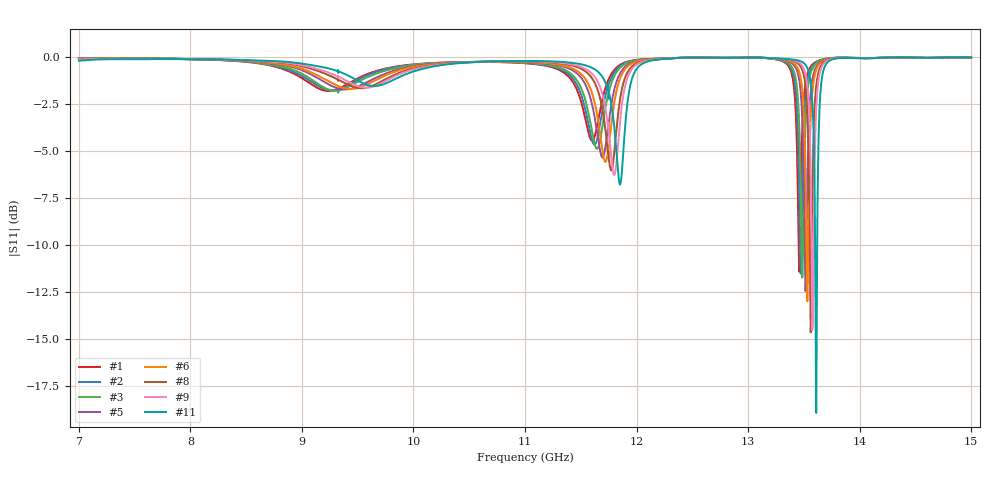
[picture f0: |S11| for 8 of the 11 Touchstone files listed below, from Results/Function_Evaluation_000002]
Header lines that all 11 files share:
! TOUCHSTONE file generated by CST DESIGN STUDIO
! Project name: C:\Work\MatlabApps\UnitCellType2OptimizationMatlab\CST\unitcell.cst
! Tree item: Tasks\Sweep1\SPara1\S-Parameters
! Header version: 2024
! Port assignment regex: !\s*Touchstone port\s*([0-9]+)\s*=\s*(CST MWS port|CST DES external port|CST DES block port)\s*(.+)\s* \(\"(.*)\"\)(\s*mode\s*([0-9]+))?.*
! Touchstone port assignment:
! Touchstone port 1 = CST DES external port 1 ("")
# GHz S MA R 50
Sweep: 7 GHz to 15 GHz
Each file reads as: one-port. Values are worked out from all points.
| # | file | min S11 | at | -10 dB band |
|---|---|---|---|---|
| 1 | DS_for_MWS-run-0001.s1p | -11.4 dB | 13.46 GHz | 12.04 MHz wide |
| 2 | DS_for_MWS-run-0002.s1p | -11.5 dB | 13.47 GHz | 12.5 MHz wide |
| 3 | DS_for_MWS-run-0003.s1p | -11.7 dB | 13.49 GHz | 13.01 MHz wide |
| 4 | DS_for_MWS-run-0004.s1p | -12.0 dB | 13.5 GHz | 13.9 MHz wide |
| 5 | DS_for_MWS-run-0005.s1p | -12.5 dB | 13.52 GHz | 14.83 MHz wide |
| 6 | DS_for_MWS-run-0006.s1p | -13.0 dB | 13.53 GHz | 15.73 MHz wide |
| 7 | DS_for_MWS-run-0007.s1p | -13.7 dB | 13.55 GHz | 16.44 MHz wide |
| 8 | DS_for_MWS-run-0008.s1p | -14.7 dB | 13.56 GHz | 16.8 MHz wide |
| 9 | DS_for_MWS-run-0009.s1p | -14.5 dB | 13.58 GHz | 19.65 MHz wide |
| 10 | DS_for_MWS-run-0010.s1p | -17.3 dB | 13.6 GHz | 17.9 MHz wide |
| 11 | DS_for_MWS-run-0011.s1p | -18.9 dB | 13.61 GHz | 18.22 MHz wide |
